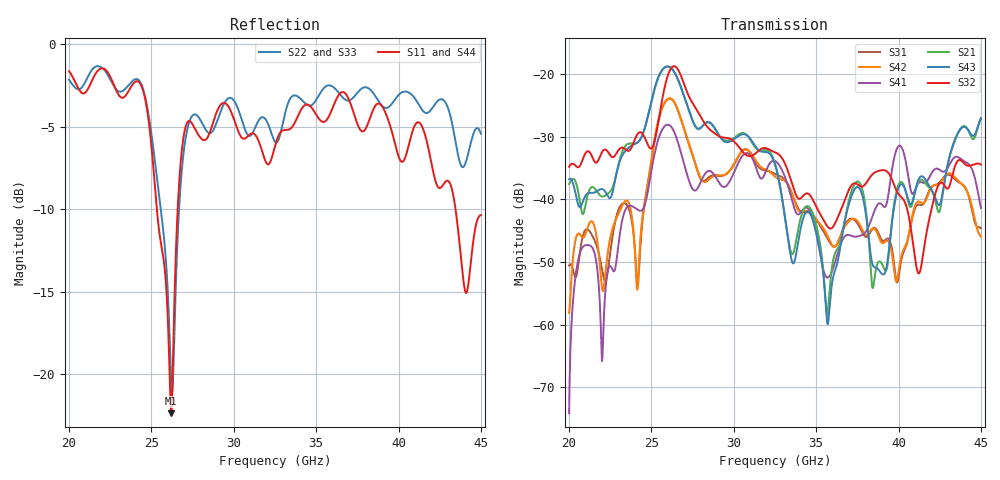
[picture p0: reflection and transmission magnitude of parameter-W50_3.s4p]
! TOUCHSTONE file generated by CST MICROWAVE STUDIO
! Date and time: Fri Jun  7 22:58:36 2024
! Project name: Final_26GHz_linear.cst
! Parameters = {tand=0.0037; Connector_spacing=15.33; Coplanar_gap=0.3905; Distance_inner=4.78238; Distance_outer=14.3471; L=2.6; L_pad=5; Length_strip_inner=24.2571; Length_strip_outer=27.7737; Pad_via_diameter=2.1; Pad_via_x_centre=3.75; Pad_via_z_centre=2.8; Patch_spacing=5.76524; Via_diameter=0.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
! Header version: 2024
! Port assignment regex: !\s*Touchstone port\s*([0-9]+)\s*=\s*(CST MWS port|CST DES external port|CST DES block port)\s*(.+)\s* \(\"(.*)\"\)(\s*mode\s*([0-9]+))?.*
! Touchstone port assignment:
! Touchstone port 1 = CST MWS port 1 ("")
! Touchstone port 2 = CST MWS port 2 ("")
! Touchstone port 3 = CST MWS port 3 ("")
! Touchstone port 4 = CST MWS port 4 ("")
# GHz S MA R 50
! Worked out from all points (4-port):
!   1001 points, 20 GHz to 45 GHz, reference 50 ohm
!   strongest paths, dB at 20 GHz, 26.25 GHz, 32.5 GHz, 38.75 GHz, 45 GHz:
!     S32: -34.8, -18.8, -32.5, -35.5, -34.4
!     S43: -36.8, -19.2, -34.4, -51.1, -27.0
!     S21: -37.5, -19.2, -34.3, -50.1, -27.1
!     S41: -74.2, -28.6, -33.9, -40.8, -41.3
!     S42: -58.1, -24.0, -36.4, -45.6, -45.9
!     S31: -50.5, -24.0, -35.9, -45.2, -44.6
!   lowest |S11| = -22.4 dB at 26.2 GHz (marker M1), VSWR 1.16, Z = 58.1 + j1.52 ohm
!   |S11| at or under -10 dB: 25.33 GHz to 26.59 GHz (1.263 GHz wide, 4.87 % of centre); 43.46 GHz to end of sweep
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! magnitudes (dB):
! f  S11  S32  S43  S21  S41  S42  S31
! 20 GHz  -1.6  -34.8  -36.8  -37.5  -74.2  -58.1  -50.5
! 20.7 GHz  -2.9  -34.4  -41.1  -41.1  -48.2  -45.7  -47.6
! 22.02 GHz  -1.5  -32.3  -38.4  -39.5  -65.2  -54.5  -51.6
! 24.18 GHz  -2.3  -29.5  -30.8  -30.9  -41.7  -53.6  -53.9
! 26.2 GHz  -22.4  -19.0  -19.0  -19.0  -28.4  -23.9  -23.9
! 35.7 GHz  -4.5  -44.4  -59.9  -58.2  -52.5  -45.9  -46.3
! 45 GHz  -10.4  -34.4  -27.0  -27.1  -41.3  -45.9  -44.6
